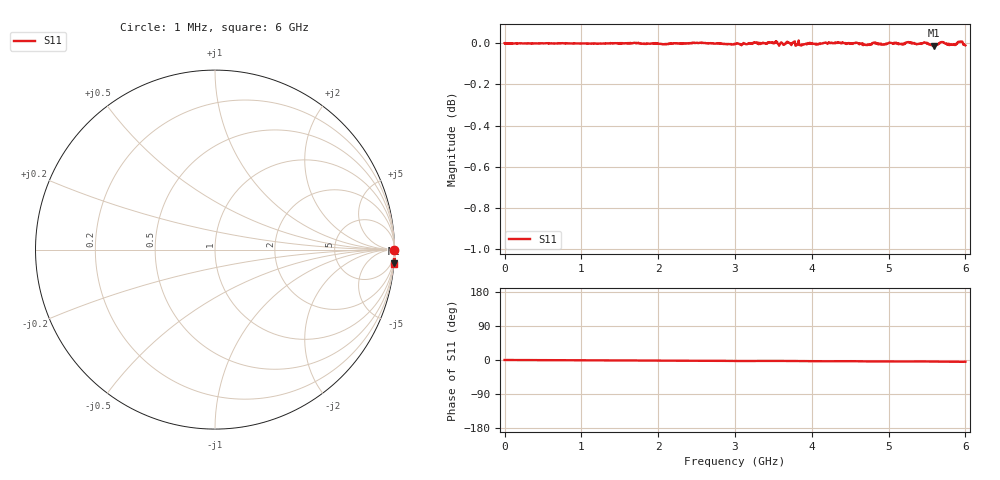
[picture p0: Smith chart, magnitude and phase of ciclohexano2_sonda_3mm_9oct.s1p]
! COPPER MOUNTAIN TECHNOLOGIES, R60, 23103002, 24.3.3/3.0
! Date: 9/10/2026 12:04:41
! Data: Format [Calibration Info]
! Frequency		S11: Mag/Ang RO
# HZ S MA R 50
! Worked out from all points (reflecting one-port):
!   1280 points, 1 MHz to 6 GHz, reference 50 ohm
!   lowest |S11| = 0.0 dB at 5.585 GHz (marker M1)
!   phase of S11 starts at -0 deg and turns -5 deg over the sweep
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1000000  1 -0.0
7.55e8  1 -0.5
1.15e9  0.9998 -0.9
1.505e9  1 -1.1
1.69e9  1 -1.2
2.04e9  0.9997 -1.7
2.255e9  1 -1.9
2.39e9  1 -1.8
2.62e9  1 -1.8
3.005e9  0.9996 -2.6
3.155e9  0.9995 -2.7
3.38e9  1 -2.4
3.54e9  1 -2.4
3.635e9  0.9996 -2.5
3.755e9  1 -2.9
4.01e9  0.9998 -3.5
4.35e9  1 -3.0
4.505e9  0.9997 -3.1
4.585e9  1 -3.1
4.755e9  0.9993 -3.8
4.945e9  0.9994 -4.1
5.255e9  1.001 -3.9
5.46e9  1.001 -3.8
5.585e9  0.9987 -4.4
5.635e9  0.9992 -4.5
5.735e9  0.9999 -4.4
5.89e9  0.9997 -4.8
6e9  0.9988 -4.7
